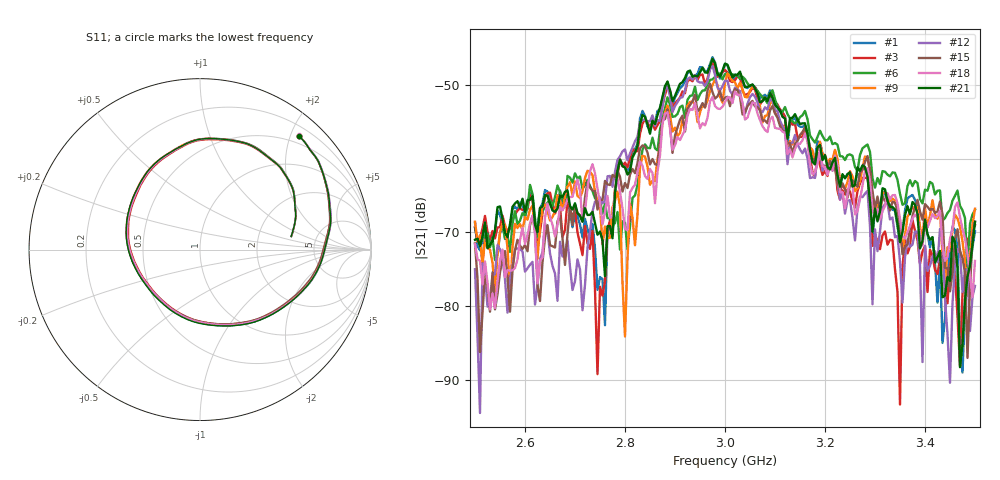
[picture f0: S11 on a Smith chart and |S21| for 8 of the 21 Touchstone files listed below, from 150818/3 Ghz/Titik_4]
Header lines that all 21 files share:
# Hz S RI R 50
! CMT, C1220, 16058040, 17.2.0/1
! Data: Format (Calibration Info)
! Freq  S11: Re/Im (F2)  S21: Re/Im (F2)  S12: Re/Im (F2)  S22: Re/Im (F2)
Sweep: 2.5 GHz to 3.5 GHz
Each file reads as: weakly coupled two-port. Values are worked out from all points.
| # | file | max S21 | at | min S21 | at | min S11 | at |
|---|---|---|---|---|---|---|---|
| 1 | Sudut_0_Titik_4.s2p | -46.31 dB | 2.975 GHz | -88.9 dB | 3.475 GHz | -8.5 dB | 2.985 GHz |
| 2 | Sudut_30_Titik_4.s2p | -46.96 dB | 2.975 GHz | -82.8 dB | 3.35 GHz | -8.7 dB | 2.985 GHz |
| 3 | Sudut_40_Titik_4.s2p | -47.01 dB | 2.975 GHz | -93.3 dB | 3.35 GHz | -8.8 dB | 2.985 GHz |
| 4 | Sudut_50_Titik_4.s2p | -47.48 dB | 2.975 GHz | -87.9 dB | 3.44 GHz | -8.8 dB | 2.985 GHz |
| 5 | Sudut_60_Titik_4.s2p | -47.39 dB | 3 GHz | -83.3 dB | 2.755 GHz | -8.8 dB | 2.985 GHz |
| 6 | Sudut_80_Titik_4.s2p | -48.44 dB | 3.005 GHz | -75.0 dB | 3.485 GHz | -8.5 dB | 2.985 GHz |
| 7 | Sudut_100_Titik_4.s2p | -48.22 dB | 3.005 GHz | -74.6 dB | 2.515 GHz | -8.4 dB | 2.985 GHz |
| 8 | Sudut_110_Titik_4.s2p | -48.04 dB | 3.005 GHz | -76.7 dB | 3.485 GHz | -8.4 dB | 2.985 GHz |
| 9 | Sudut_120_Titik_4.s2p | -48.47 dB | 3.005 GHz | -84.0 dB | 2.8 GHz | -8.5 dB | 2.985 GHz |
| 10 | Sudut_130_Titik_4.s2p | -48.38 dB | 3.005 GHz | -88.4 dB | 3.485 GHz | -8.7 dB | 2.985 GHz |
| 11 | Sudut_150_Titik_4.s2p | -47.90 dB | 2.975 GHz | -89.1 dB | 3.445 GHz | -8.7 dB | 2.985 GHz |
| 12 | Sudut_170_Titik_4.s2p | -47.49 dB | 2.975 GHz | -94.4 dB | 2.51 GHz | -8.5 dB | 2.985 GHz |
| 13 | Sudut_190_Titik_4.s2p | -47.82 dB | 2.975 GHz | -85.8 dB | 3.45 GHz | -8.6 dB | 2.985 GHz |
| 14 | Sudut_200_Titik_4.s2p | -48.42 dB | 2.975 GHz | -92.1 dB | 3.49 GHz | -8.7 dB | 2.985 GHz |
| 15 | Sudut_240_Titik_4.s2p | -49.89 dB | 2.97 GHz | -87.0 dB | 3.485 GHz | -8.7 dB | 2.985 GHz |
| 16 | Sudut_260_Titik_4.s2p | -49.64 dB | 2.97 GHz | -101.5 dB | 2.54 GHz | -8.7 dB | 2.985 GHz |
| 17 | Sudut_280_Titik_4.s2p | -50.06 dB | 2.97 GHz | -92.4 dB | 2.53 GHz | -8.8 dB | 2.985 GHz |
| 18 | Sudut_300_Titik_4.s2p | -50.96 dB | 3.02 GHz | -80.4 dB | 2.53 GHz | -8.7 dB | 2.985 GHz |
| 19 | Sudut_330_Titik_4.s2p | -48.90 dB | 2.975 GHz | -87.7 dB | 3.44 GHz | -8.4 dB | 2.985 GHz |
| 20 | Sudut_350_Titik_4.s2p | -47.30 dB | 2.975 GHz | -85.6 dB | 2.76 GHz | -8.4 dB | 2.985 GHz |
| 21 | Sudut_360_Titik_4.s2p | -46.52 dB | 2.975 GHz | -88.2 dB | 3.47 GHz | -8.4 dB | 2.985 GHz |
